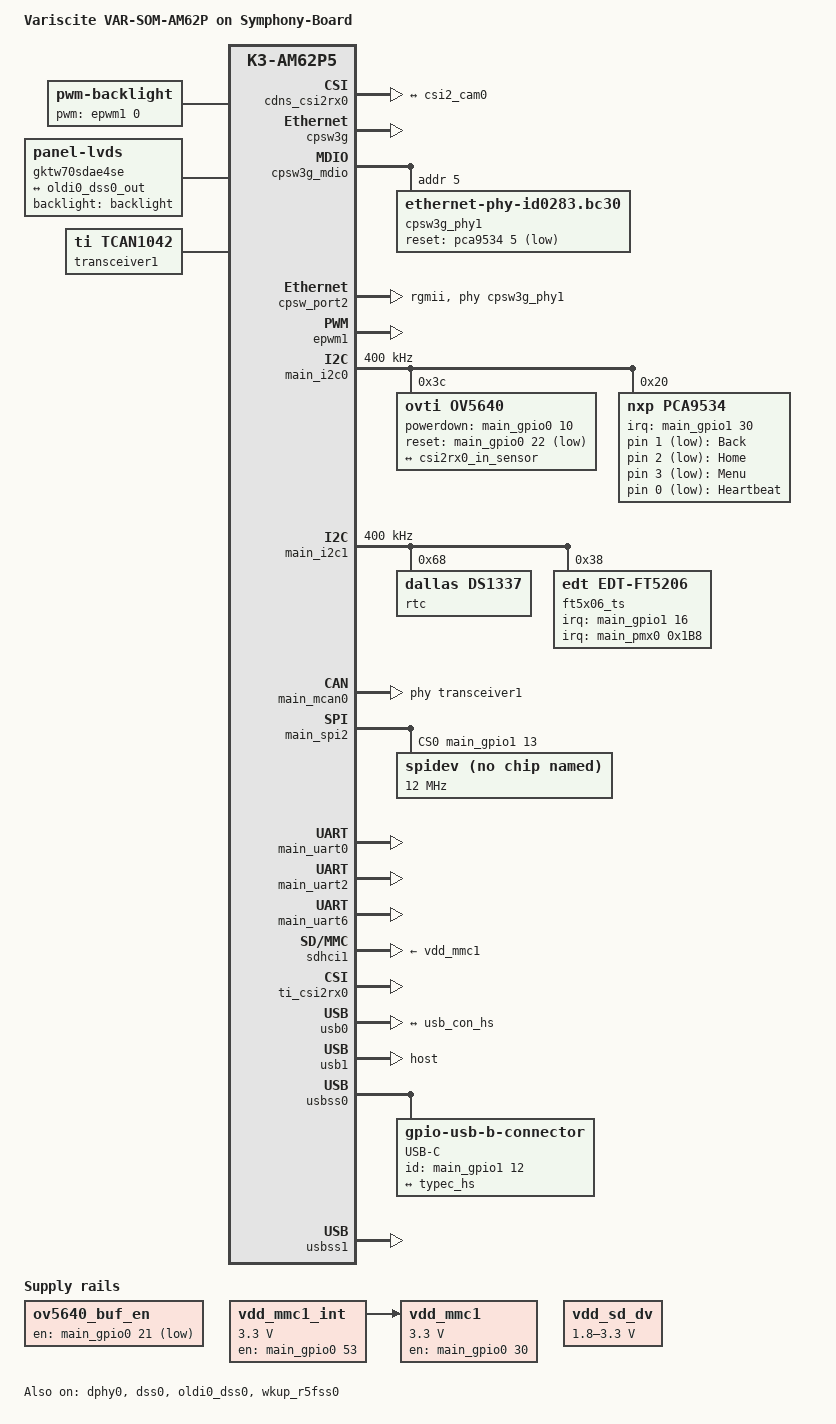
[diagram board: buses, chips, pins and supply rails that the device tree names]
// SPDX-License-Identifier: GPL-2.0
/*
 * VAR-SOM-AM62P
 *
 * Copyright (C) 2021-2022 Texas Instruments Incorporated - https://www.ti.com/
 * Copyright (C) 2025-2026 Variscite Ltd. - https://www.variscite.com/
 */

/dts-v1/;

#include "k3-am62p5-var-som.dtsi"

/ {
	model = "Variscite VAR-SOM-AM62P on Symphony-Board";

	aliases {
		ethernet0 = &cpsw_port1;
		ethernet1 = &cpsw_port2;
		mmc0 = &sdhci0;
		mmc1 = &sdhci1;
		mmc2 = &sdhci2;
		spi5 = &main_spi2;
		usb0 = &usb0;
		usb1 = &usb1;
	};

	backlight: backlight {
		compatible = "pwm-backlight";
		pwms = <&epwm1 0 1000000 0>;
		status = "okay";
		brightness-levels = < 0  1  2  3  4  5  6  7  8  9
				      10 11 12 13 14 15 16 17 18 19
				      20 21 22 23 24 25 26 27 28 29
				      30 31 32 33 34 35 36 37 38 39
				      40 41 42 43 44 45 46 47 48 49
				      50 51 52 53 54 55 56 57 58 59
				      60 61 62 63 64 65 66 67 68 69
				      70 71 72 73 74 75 76 77 78 79
				      80 81 82 83 84 85 86 87 88 89
				      90 91 92 93 94 95 96 97 98 99
				      100>;
		default-brightness-level = <80>;
	};

	chosen {
		stdout-path = "serial0:115200n8";
		bootargs = "console=ttyS0,115200n8 earlycon=ns16550a,mmio32,0x02800000";
	};

	clk_ov5640_fixed: clock {
		#clock-cells = <0>;
		compatible = "fixed-clock";
		clock-frequency = <24000000>;
	};

	display {
		compatible = "panel-lvds";
		backlight = <&backlight>;
		width-mm = <153>;
		height-mm = <87>;
		label = "gktw70sdae4se";
		data-mapping = "jeida-24";
		status = "okay";

		panel-timing {
			clock-frequency = <30000000>;
			hactive = <800>;
			vactive = <480>;
			hback-porch = <40>;
			hfront-porch = <40>;
			vback-porch = <29>;
			vfront-porch = <13>;
			hsync-len = <48>;
			vsync-len = <3>;
			hsync-active = <0>;
			vsync-active = <0>;
			de-active = <1>;

			/* unlike most panels this panel expects pixelclk-active = <1> */
			pixelclk-active = <1>;
		};

		port@0 {
			lcd_in0: endpoint {
				remote-endpoint = <&oldi0_dss0_out>;
			};
		};
	};

	gpio-keys {
		compatible = "gpio-keys";
		status = "okay";
		back {
			label = "Back";
			linux,code = <KEY_BACK>;
			gpios = <&pca9534 1 GPIO_ACTIVE_LOW>;
		};

		home {
			label = "Home";
			linux,code = <KEY_HOME>;
			gpios = <&pca9534 2 GPIO_ACTIVE_LOW>;
		};

		menu {
			label = "Menu";
			linux,code = <KEY_MENU>;
			gpios = <&pca9534 3 GPIO_ACTIVE_LOW>;
		};
	};

	gpio-leds {
		compatible = "gpio-leds";
		status = "okay";

		heartbeat {
			label = "Heartbeat";
			linux,default-trigger = "heartbeat";
			gpios = <&pca9534 0 GPIO_ACTIVE_LOW>;
		};
	};

	ov5640_buf_en: ov5640-buf-en {
		compatible = "regulator-fixed";
		regulator-name = "ov5640_buf_en";
		gpio = <&main_gpio0 21 GPIO_ACTIVE_HIGH>;
		regulator-always-on;
		regulator-boot-on;
		status="okay";
	};

	transceiver1: can-phy0 {
		compatible = "ti,tcan1042";
		#phy-cells = <0>;
		max-bitrate = <5000000>;
	};

	vdd_mmc1: regulator-1 {
		compatible = "regulator-fixed";
		regulator-name = "sd_ext_rst";
	        vin-supply = <&vdd_mmc1_int>;
		regulator-min-microvolt = <3300000>;
		regulator-max-microvolt = <3300000>;
		regulator-boot-on;
		enable-active-high;
		gpio = <&main_gpio0 30 GPIO_ACTIVE_HIGH>;
		bootph-all;
	};

	vdd_mmc1_int: regulator-2 {
		compatible = "regulator-fixed";
		regulator-name = "sd_int_rst";
		pinctrl-names = "default";
		pinctrl-0 = <&vdd_mmc1_pins_default>;
		regulator-min-microvolt = <3300000>;
		regulator-max-microvolt = <3300000>;
		regulator-boot-on;
		enable-active-high;
		gpio = <&main_gpio0 53 GPIO_ACTIVE_HIGH>;
		bootph-all;
	};

	vdd_sd_dv: regulator-3 {
		compatible = "regulator-gpio";
		regulator-name = "vdd_sd_vio";
		pinctrl-names = "default";
		pinctrl-0 = <&vdd_sd_dv_pins_default>;
		regulator-min-microvolt = <1800000>;
		regulator-max-microvolt = <3300000>;
		regulator-boot-on;
		gpios = <&main_gpio0 56 GPIO_ACTIVE_HIGH>;
		states = <1800000 0x0>,
			 <3300000 0x1>;
		bootph-all;
	};
};

&cdns_csi2rx0 {
	ports {
		#address-cells = <1>;
		#size-cells = <0>;

		csi0_port0: port@0 {
			reg = <0>;
			status = "okay";

			csi2rx0_in_sensor: endpoint {
				remote-endpoint = <&csi2_cam0>;
				bus-type = <4>; /* CSI2 DPHY. */
				clock-lanes = <0>;
				data-lanes = <1 2>;
			};
		};
	};
};

&cpsw3g {
	status = "okay";
	pinctrl-names = "default";
	pinctrl-0 = <&main_rgmii1_pins_default>,
		    <&main_rgmii2_pins_default>;
};

&cpsw3g_mdio {
	status = "okay";
	pinctrl-names = "default";
	pinctrl-0 = <&main_mdio1_pins_default>;

	cpsw3g_phy1: ethernet-phy@5 {
		reg = <5>;
		compatible = "ethernet-phy-id0283.bc30";
		reset-gpios = <&pca9534 5 GPIO_ACTIVE_LOW>;
		reset-assert-us = <10000>;
		reset-deassert-us = <100000>;
	};
};

&cpsw_port2 {
	phy-mode = "rgmii";
	phy-handle = <&cpsw3g_phy1>;
	status = "okay";
};

&dphy0 {
	status = "okay";
};

&dss0 {
	status = "okay";
};

&dss0_ports {
	#address-cells = <1>;
	#size-cells = <0>;

	/* VP1: Output to OLDI0 */
	port@0 {
		reg = <0>;
		#address-cells = <1>;
		#size-cells = <0>;

		dss0_dpi0_out0: endpoint@0 {
			reg = <0>;
			remote-endpoint = <&oldi0_dss0_in>;
		};
	};
};

&epwm1 {
	status = "okay";
	pinctrl-names = "default";
	pinctrl-0 = <&main_epwm1_pins_default>;
};

&mailbox0_cluster0 {
	status = "okay";
	mbox_r5_0: mbox-r5-0 {
		ti,mbox-rx = <0 0 0>;
		ti,mbox-tx = <1 0 0>;
	};
};

&mailbox0_cluster1 {
	status = "disabled";
	mbox_mcu_r5_0: mbox-mcu-r5-0 {
		ti,mbox-rx = <0 0 0>;
		ti,mbox-tx = <1 0 0>;
	};
};

&main_i2c0{
	status = "okay";
	pinctrl-names = "default";
	pinctrl-0 = <&main_i2c0_pins_default>;
	clock-frequency = <400000>;

	ov5640: camera@3c {
		compatible = "ovti,ov5640";
		reg = <0x3c>;

		clocks = <&clk_ov5640_fixed>;
		clock-names = "xclk";

		powerdown-gpios = <&main_gpio0 10 GPIO_ACTIVE_HIGH>;
		reset-gpios = <&main_gpio0 22 GPIO_ACTIVE_LOW>;

		pinctrl-names = "default";
		pinctrl-0 = <&ov5640_pins_default>;

		port {
			csi2_cam0: endpoint {
				remote-endpoint = <&csi2rx0_in_sensor>;
				clock-lanes = <0>;
				data-lanes = <1 2>;
			};
		};
	};

	/* GPIO expander */
	pca9534: gpio@20 {
		compatible = "nxp,pca9534";
		reg = <0x20>;
		gpio-controller;
		pinctrl-names = "default";
		pinctrl-0 = <&pca9534_irq_default>;
		interrupt-parent = <&main_gpio1>;
		interrupts = <30 IRQ_TYPE_EDGE_FALLING>;
		#gpio-cells = <2>;
		status = "okay";

		usb3_sel_hog {
			gpio-hog;
			gpios = <4 0>;
			output-low;
			line-name = "usb3_sel";
		};

		eth_som_vselect_hog {
			gpio-hog;
			gpios = <6 0>;
			output-low;
			line-name = "eth-vselect";
		};

		eth_mdio_enable_hog {
			gpio-hog;
			gpios = <7 0>;
			output-high;
			line-name = "eth-mdio-enable";
		};
	};
};

&main_i2c1 {
	pinctrl-names = "default";
	pinctrl-0 = <&main_i2c1_pins_default>;
	clock-frequency = <400000>;
	status = "okay";

	/* DS1337 RTC module */
	rtc@68 {
		compatible = "dallas,ds1337";
		reg = <0x68>;
		status = "okay";
	};

	/* Capacitive touch controller */
	ft5x06_ts: ft5x06_ts@38 {
		compatible = "edt,edt-ft5206";
		reg = <0x38>;
		pinctrl-names = "default";
		pinctrl-0 = <&captouch_pins_default>;
		interrupts-extended = <&main_gpio1 16 IRQ_TYPE_EDGE_FALLING>,
							  <&main_pmx0 0x1B8>;
		interrupt-names = "irq", "wakeup";
		touchscreen-size-x = <800>;
		touchscreen-size-y = <480>;
		touchscreen-inverted-x;
		touchscreen-inverted-y;
		wakeup-source;
		status = "okay";
	};
};

&main_mcan0 {
	status = "okay";
	pinctrl-names = "default";
	pinctrl-0 = <&main_mcan0_pins_default>;
	phys = <&transceiver1>;
};

&main_pmx0 {
	captouch_pins_default: captouch-pins-default {
		pinctrl-single,pins = <
			AM62PX_IOPAD(0x01b8, PIN_INPUT, 7) /* (E20) SPI0_CS1.GPIO1_16 */
		>;
	};

	extcon_pins_default: extcon-pins-default {
		pinctrl-single,pins = <
			AM62PX_IOPAD(0x01a8, PIN_INPUT, 7) /* (F25) MCASP0_AFSX.GPIO1_12 */
		>;
	};

	main_epwm1_pins_default: main-epwm1-pins-default {
		pinctrl-single,pins = <
			AM62PX_IOPAD(0x019c, PIN_OUTPUT, 6) /* (E24) MCASP0_AXR1.EHRPWM1_A */
		>;
	};

	main_i2c0_pins_default: main-i2c0-pins-default {
		pinctrl-single,pins = <
			AM62PX_IOPAD(0x01e0, PIN_INPUT_PULLUP, 0) /* (B25) I2C0_SCL */
			AM62PX_IOPAD(0x01e4, PIN_INPUT_PULLUP, 0) /* (A24) I2C0_SDA */
		>;
	};

	main_i2c1_pins_default: main-i2c1-pins-default {
		pinctrl-single,pins = <
			AM62PX_IOPAD(0x01e8, PIN_INPUT_PULLUP, 0) /* (C24) I2C1_SCL */
			AM62PX_IOPAD(0x01ec, PIN_INPUT_PULLUP, 0) /* (B24) I2C1_SDA */
		>;
		bootph-all;
	};

	main_mcan0_pins_default: main-mcan0-pins-default {
		pinctrl-single,pins = <
			AM62PX_IOPAD(0x01dc, PIN_INPUT, 0) /* (F20) MCAN0_RX */
			AM62PX_IOPAD(0x01d8, PIN_OUTPUT, 0) /* (B23) MCAN0_TX */
		>;
	};

	main_mmc1_pins_default: main-mmc1-pins-default {
		pinctrl-single,pins = <
			AM62PX_IOPAD(0x023c, PIN_INPUT, 0) /* (H20) MMC1_CMD */
			AM62PX_IOPAD(0x0234, PIN_OUTPUT, 0) /* (J24) MMC1_CLK */
			AM62PX_IOPAD(0x0230, PIN_INPUT, 0) /* (H21) MMC1_DAT0 */
			AM62PX_IOPAD(0x022c, PIN_INPUT_PULLUP, 0) /* (H23) MMC1_DAT1 */
			AM62PX_IOPAD(0x0228, PIN_INPUT_PULLUP, 0) /* (H22) MMC1_DAT2 */
			AM62PX_IOPAD(0x0224, PIN_INPUT_PULLUP, 0) /* (H25) MMC1_DAT3 */
			AM62PX_IOPAD(0x0240, PIN_INPUT, 0) /* (D23) MMC1_SDCD */
		>;
		bootph-all;
	};

	main_rgmii2_pins_default: main-rgmii2-pins-default {
		pinctrl-single,pins = <
			AM62PX_IOPAD(0x0184, PIN_INPUT, 0) /* (E19) RGMII2_RD0 */
			AM62PX_IOPAD(0x0188, PIN_INPUT, 0) /* (E16) RGMII2_RD1 */
			AM62PX_IOPAD(0x018c, PIN_INPUT, 0) /* (E17) RGMII2_RD2 */
			AM62PX_IOPAD(0x0190, PIN_INPUT, 0) /* (C19) RGMII2_RD3 */
			AM62PX_IOPAD(0x0180, PIN_INPUT, 0) /* (D19) RGMII2_RXC */
			AM62PX_IOPAD(0x017c, PIN_INPUT, 0) /* (F19) RGMII2_RX_CTL */
			AM62PX_IOPAD(0x016c, PIN_INPUT, 0) /* (B19) RGMII2_TD0 */
			AM62PX_IOPAD(0x0170, PIN_INPUT, 0) /* (A21) RGMII2_TD1 */
			AM62PX_IOPAD(0x0174, PIN_INPUT, 0) /* (D17) RGMII2_TD2 */
			AM62PX_IOPAD(0x0178, PIN_INPUT, 0) /* (A19) RGMII2_TD3 */
			AM62PX_IOPAD(0x0168, PIN_INPUT_PULLDOWN, 0) /* (D16) RGMII2_TXC */
			AM62PX_IOPAD(0x0164, PIN_INPUT, 0) /* (A20) RGMII2_TX_CTL */
		>;
	};

	main_spi2_pins_default: main_spi2-pins-default {
		pinctrl-single,pins = <
			AM62PX_IOPAD(0x01b0, PIN_INPUT, 1) /* (G20) MCASP0_ACLKR.SPI2_CLK */
			AM62PX_IOPAD(0x0194, PIN_OUTPUT, 1) /* (D25) MCASP0_AXR3.SPI2_D0 */
			AM62PX_IOPAD(0x0198, PIN_INPUT, 1) /* (E25) MCASP0_AXR2.SPI2_D1 */
			AM62PX_IOPAD(0x01ac, PIN_OUTPUT, 7) /* (G23) MCASP0_AFSR.GPIO1_13 */
		>;
	};

	main_uart0_pins_default: main-uart0-default-pins {
		pinctrl-single,pins = <
			AM62PX_IOPAD(0x1c8, PIN_INPUT, 0)	/* (A22) UART0_RXD */
			AM62PX_IOPAD(0x1cc, PIN_OUTPUT, 0)	/* (B22) UART0_TXD */
		>;
		bootph-all;
	};

	main_uart2_pins_default: main-uart2-pins-default {
		pinctrl-single,pins = <
			AM62PX_IOPAD(0x005c, PIN_INPUT_PULLUP, 2) /* (AC25) GPMC0_AD8.UART2_RXD */
			AM62PX_IOPAD(0x0060, PIN_OUTPUT, 2) /* (AB25) GPMC0_AD9.UART2_TXD */
		>;
	};

	main_uart6_pins_default: main-uart6-pins-default {
		pinctrl-single,pins = <
			AM62PX_IOPAD(0x009c, PIN_INPUT_PULLUP, 3) /* (AD24) GPMC0_WAIT1.UART6_RXD */
			AM62PX_IOPAD(0x0244, PIN_OUTPUT, 1) /* (D24) MMC1_SDWP.UART6_TXD */
		>;
	};

	main_usb1_pins_default: main-usb1-pins-default {
		pinctrl-single,pins = <
			AM62PX_IOPAD(0x0258, PIN_INPUT | PIN_DS_PULLUD_ENABLE | PIN_DS_PULL_UP, 0) /* (G21) USB1_DRVVBUS */
		>;
	};

	ov5640_pins_default: ov5640-pins-default {
		pinctrl-single,pins = <
			AM62PX_IOPAD(0x0028, PIN_OUTPUT, 7) /* (N20) OSPI0_D7.GPIO0_10 */
			AM62PX_IOPAD(0x0054, PIN_OUTPUT, 7) /* (V24) GPMC0_AD6.GPIO0_21 */
			AM62PX_IOPAD(0x0058, PIN_OUTPUT, 7) /* (W25) GPMC0_AD7.GPIO0_22 */
		>;
	};

	pca9534_irq_default: pca9534_irq_default {
		pinctrl-single,pins = <
			AM62PX_IOPAD(0x01f0, PIN_INPUT, 7) /* (C25) EXT_REFCLK1.GPIO1_30 */
		>;
	};

	vdd_mmc1_pins_default: vdd-mmc1-pins-default {
		pinctrl-single,pins = <
			AM62PX_IOPAD(0x0078, PIN_OUTPUT, 7) /* (AC24) GPMC0_AD15.GPIO0_30 */
			AM62PX_IOPAD(0x00d8, PIN_OUTPUT, 7) /* (AE22) VOUT0_DATA8.GPIO0_53 */
		>;
		bootph-all;
	};

	vdd_sd_dv_pins_default: vdd-sd-dv-pins-default {
		pinctrl-single,pins = <
			AM62PX_IOPAD(0x00e4, PIN_OUTPUT, 7) /* (AE21) VOUT0_DATA11.GPIO0_56 */
		>;
		bootph-all;
	};
};

&main_spi2 {
	status = "okay";
	pinctrl-names = "default";
	pinctrl-0 = <&main_spi2_pins_default>;
	ti,pindir-d0-out-d1-in = <1>;
	cs-gpios = <&main_gpio1 13 GPIO_ACTIVE_HIGH>;

	spidev@0 {
		compatible = "var,spidev";
		reg = <0>;
		spi-max-frequency = <12000000>;
		status = "okay";
	};
};

&main_uart0 {
	status = "okay";
	pinctrl-names = "default";
	pinctrl-0 = <&main_uart0_pins_default>;
};

&main_uart1 {
	/* Main UART1 is used by TIFS firmware */
	status = "reserved";
};

&main_uart2 {
	pinctrl-names = "default";
	pinctrl-0 = <&main_uart2_pins_default>;
	status = "okay";
};

&main_uart6 {
	pinctrl-names = "default";
	pinctrl-0 = <&main_uart6_pins_default>;
	status = "okay";
};

&mcu_gpio0 {
	status = "reserved";
};

&mcu_gpio_intr {
	status = "reserved";
};

&mcu_r5fss0 {
	status = "disabled";
};

&mcu_r5fss0_core0 {
	status = "disabled";
	mboxes = <&mailbox0_cluster1 &mbox_mcu_r5_0>;
	memory-region = <&mcu_r5fss0_core0_dma_memory_region>,
			<&mcu_r5fss0_core0_memory_region>;
};

&oldi0_dss0 {
	status = "okay";
};

&oldi0_dss0_ports {
	#address-cells = <1>;
	#size-cells = <0>;

	port@0 {
		reg = <0>;

		oldi0_dss0_in: endpoint {
			remote-endpoint = <&dss0_dpi0_out0>;
		};
	};

	port@1 {
		reg = <1>;

		oldi0_dss0_out: endpoint {
			remote-endpoint = <&lcd_in0>;
		};
	};
};

&sdhci1 {
	/* SD Card */
	vmmc-supply = <&vdd_mmc1>;
	vqmmc-supply = <&vdd_sd_dv>;
	pinctrl-names = "default";
	pinctrl-0 = <&main_mmc1_pins_default>;
	disable-wp;
	status="okay";
	bootph-all;
};

&ti_csi2rx0 {
	status = "okay";
};

&usb0 {
	#address-cells = <1>;
	#size-cells = <0>;
	usb-role-switch;
	status="okay";

	port {
		typec_hs: endpoint {
			remote-endpoint = <&usb_con_hs>;
		};
	};
};

&usb1 {
	dr_mode = "host";
	pinctrl-names = "default";
	pinctrl-0 = <&main_usb1_pins_default>;
	status="okay";
};

&usbss0 {
	status = "okay";

	connector {
		compatible = "gpio-usb-b-connector","usb-c-connector";
		pinctrl-names = "default";
		pinctrl-0 = <&extcon_pins_default>;
		label = "USB-C";
		id-gpios = <&main_gpio1 12 GPIO_ACTIVE_HIGH>;
		status = "okay";

		port {
			usb_con_hs: endpoint {
				remote-endpoint = <&typec_hs>;
			};
		};
	};
};

&usbss1 {
	status = "okay";
};

&wkup_r5fss0 {
	status = "okay";
};

&wkup_r5fss0_core0 {
	mboxes = <&mailbox0_cluster0 &mbox_r5_0>;
	memory-region = <&wkup_r5fss0_core0_dma_memory_region>,
			<&wkup_r5fss0_core0_memory_region>;
};

&wkup_rtc0 {
	status = "disabled";
};

&wkup_rti0 {
	/* WKUP RTI0 is used by DM firmware */
	status = "reserved";
};

&wkup_uart0 {
	/* WKUP UART0 is used by DM firmware */
	status = "reserved";
};
